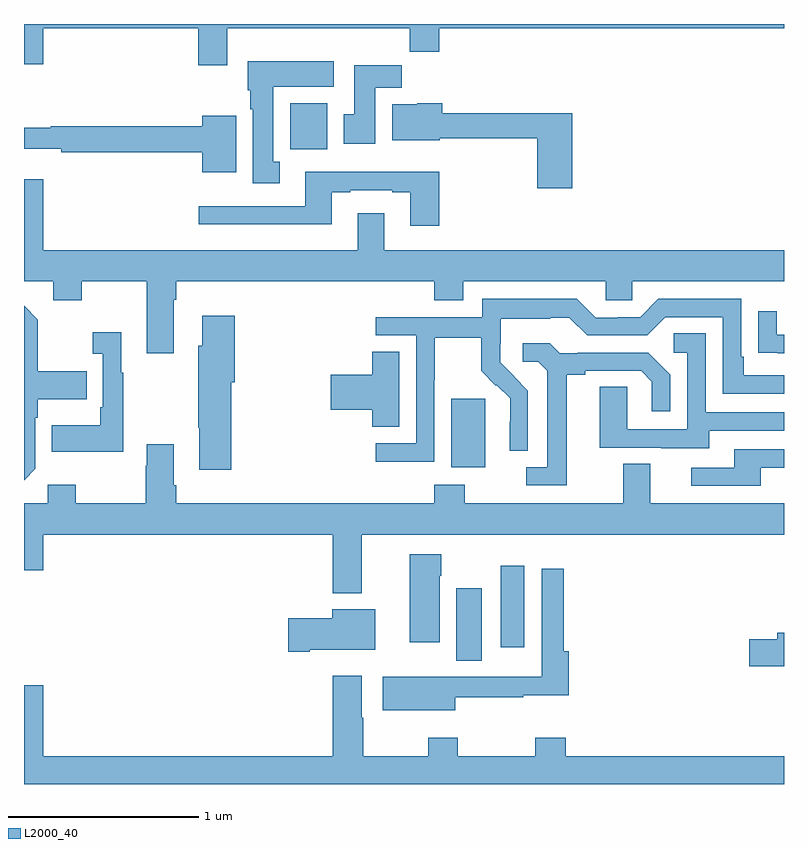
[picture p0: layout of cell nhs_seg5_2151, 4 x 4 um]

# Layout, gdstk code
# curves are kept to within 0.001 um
import gdstk
lib = gdstk.Library(unit=1e-6, precision=1e-09)
def R(c, l, rs):  # rectangles x0, y0, x1, y1
    for r in rs: c.add(gdstk.rectangle(r[:2], r[2:], *l))
def P(c, l, *ps):  # polygons
    for p in ps: c.add(gdstk.Polygon(p, *l))
L2000_40 = (2000, 40)

nhs_seg5_2151 = lib.new_cell('nhs_seg5_2151')
R(nhs_seg5_2151, L2000_40, [(239.276,837.448,239.41,837.829), (239.51,837.519,239.632,837.949), (239.249,838.466,239.428,838.827), (238.4,840.14,238.597,840.382)])
P(nhs_seg5_2151, L2000_40, [(238.069,840.776),(239.029,840.776),(239.029,840.652),(239.186,840.652),(239.186,840.776),(241,840.776),(241,840.799),(237,840.799),(237,840.588),(237.1,840.588),(237.1,840.776),(237.917,840.776),(237.917,840.582),(238.069,840.582)],
  [(238.345,840.074),(238.312,840.074),(238.312,840.47),(238.63,840.47),(238.63,840.604),(238.178,840.604),(238.178,840.45),(238.19,840.45),(238.19,840.35),(238.205,840.35),(238.205,839.961),(238.345,839.961)],
  [(238.849,840.464),(238.988,840.464),(238.988,840.583),(238.739,840.583),(238.739,840.324),(238.682,840.324),(238.682,840.168),(238.849,840.168)],
  [(239.885,840.328),(239.201,840.328),(239.201,840.382),(239.07,840.382),(239.07,840.376),(238.937,840.376),(238.937,840.188),(239.188,840.188),(239.188,840.199),(239.702,840.199),(239.702,839.934),(239.885,839.934)],
  [(238.117,840.316),(237.938,840.316),(237.938,840.26),(237.142,840.26),(237.142,840.253),(237,840.253),(237,840.143),(237.196,840.143),(237.196,840.124),(237.938,840.124),(237.938,840.02),(238.117,840.02)],
  [(239.186,840.022),(238.481,840.022),(238.481,839.841),(237.921,839.841),(237.921,839.744),(238.621,839.744),(238.621,839.913),(238.717,839.913),(238.717,839.925),(238.937,839.925),(238.937,839.913),(239.033,839.913),(239.033,839.736),(239.186,839.736)],
  [(237.787,839.348),(237.8,839.348),(237.8,839.444),(239.159,839.444),(239.159,839.345),(239.311,839.345),(239.311,839.444),(240.063,839.444),(240.063,839.346),(240.201,839.346),(240.201,839.444),(241,839.444),(241,839.608),(238.897,839.608),(238.897,839.803),(238.757,839.803),(238.757,839.608),(237.1,839.608),(237.1,839.983),(237,839.983),(237,839.444),(237.155,839.444),(237.155,839.345),(237.303,839.345),(237.303,839.444),(237.647,839.444),(237.647,839.067),(237.787,839.067)],
  [(239.16,838.924),(239.163,838.924),(239.163,839.148),(239.407,839.148),(239.407,838.973),(239.484,838.896),(239.487,838.899),(239.558,838.829),(239.558,838.706),(239.556,838.706),(239.556,838.552),(239.652,838.552),(239.652,838.87),(239.506,839.018),(239.506,839.115),(239.508,839.115),(239.508,839.249),(239.771,839.249),(239.771,839.253),(239.871,839.253),(239.964,839.16),(240.279,839.16),(240.375,839.256),(240.678,839.256),(240.678,838.854),(241,838.854),(241,838.95),(240.787,838.95),(240.787,839.047),(240.774,839.047),(240.774,839.352),(240.339,839.352),(240.243,839.256),(240.125,839.256),(240.125,839.253),(240.009,839.253),(239.909,839.353),(239.412,839.353),(239.412,839.256),(238.851,839.256),(238.851,839.16),(239.064,839.16),(239.064,838.593),(238.851,838.593),(238.851,838.495),(239.16,838.495)],
  [(237.06,838.458),(237.06,838.727),(237.073,838.727),(237.073,838.823),(237.329,838.823),(237.329,838.971),(237.073,838.971),(237.073,839.243),(237,839.316),(237,838.398)],
  [(241,839.163),(240.961,839.163),(240.961,839.287),(240.865,839.287),(240.865,839.068),(240.967,839.068),(240.967,839.067),(241,839.067)],
  [(238.091,838.914),(238.109,838.914),(238.109,839.263),(237.938,839.263),(237.938,839.106),(237.916,839.106),(237.916,838.675),(237.923,838.675),(237.923,838.452),(238.091,838.452)],
  [(237.523,838.963),(237.511,838.963),(237.511,839.176),(237.363,839.176),(237.363,839.063),(237.414,839.063),(237.414,838.783),(237.402,838.783),(237.402,838.687),(237.145,838.687),(237.145,838.547),(237.523,838.547)],
  [(240.607,838.659),(241,838.659),(241,838.755),(240.588,838.755),(240.588,839.171),(240.42,839.171),(240.42,839.07),(240.492,839.07),(240.492,838.665),(240.174,838.665),(240.174,838.889),(240.029,838.889),(240.029,838.569),(240.353,838.569),(240.353,838.565),(240.607,838.565)],
  [(239.857,838.952),(239.953,838.952),(239.953,838.974),(240.248,838.974),(240.305,838.917),(240.305,838.761),(240.402,838.761),(240.402,838.954),(240.286,839.07),(239.914,839.07),(239.914,839.067),(239.82,839.067),(239.768,839.119),(239.625,839.119),(239.625,839.022),(239.706,839.022),(239.753,838.975),(239.753,838.467),(239.643,838.467),(239.643,838.371),(239.857,838.371)],
  [(238.975,839.075),(238.832,839.075),(238.832,838.952),(238.614,838.952),(238.614,838.769),(238.832,838.769),(238.832,838.678),(238.975,838.678)],
  [(238.777,838.112),(241,838.112),(241,838.276),(240.295,838.276),(240.295,838.484),(240.155,838.484),(240.155,838.276),(239.319,838.276),(239.319,838.375),(239.159,838.375),(239.159,838.276),(237.8,838.276),(237.8,838.372),(237.787,838.372),(237.787,838.588),(237.647,838.588),(237.647,838.475),(237.64,838.475),(237.64,838.276),(237.273,838.276),(237.273,838.375),(237.126,838.375),(237.126,838.276),(237,838.276),(237,837.924),(237.1,837.924),(237.1,838.112),(238.625,838.112),(238.625,837.803),(238.777,837.803)],
  [(240.877,838.464),(241,838.464),(241,838.56),(240.737,838.56),(240.737,838.464),(240.513,838.464),(240.513,838.368),(240.877,838.368)],
  [(239.188,837.896),(239.196,837.896),(239.196,838.009),(239.03,838.009),(239.03,837.546),(239.188,837.546)],
  [(239.269,837.255),(239.627,837.255),(239.627,837.265),(239.867,837.265),(239.867,837.499),(239.84,837.499),(239.84,837.931),(239.724,837.931),(239.724,837.364),(239.514,837.364),(239.514,837.363),(239.165,837.363),(239.165,837.364),(238.889,837.364),(238.889,837.188),(239.269,837.188)],
  [(238.504,837.506),(238.849,837.506),(238.849,837.718),(238.622,837.718),(238.622,837.672),(238.392,837.672),(238.392,837.494),(238.504,837.494)],
  [(241,837.596),(240.965,837.596),(240.965,837.56),(240.816,837.56),(240.816,837.418),(241,837.418)],
  [(241,836.944),(239.852,836.944),(239.852,837.043),(239.692,837.043),(239.692,836.944),(239.283,836.944),(239.283,837.043),(239.128,837.043),(239.128,836.944),(238.785,836.944),(238.785,837.149),(238.777,837.149),(238.777,837.37),(238.625,837.37),(238.625,836.944),(237.1,836.944),(237.1,837.319),(237,837.319),(237,836.799),(241,836.799)])

lib.write_gds('nhs_seg5_2151.gds')
